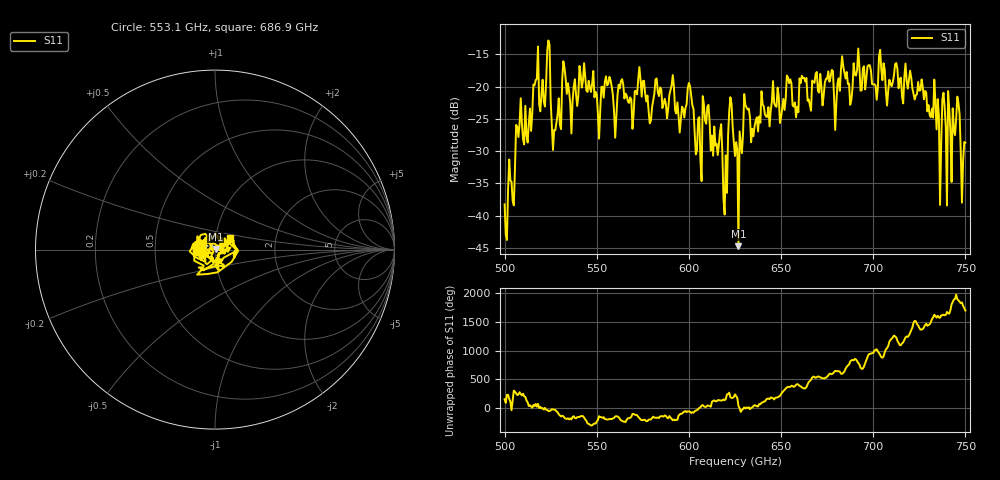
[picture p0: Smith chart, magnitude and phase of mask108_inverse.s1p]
!Created with skrf (http://scikit-rf.org).
# GHz S MA R 50.0
!freq magS11 angS11
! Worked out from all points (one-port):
!   401 points, 500 GHz to 750 GHz, reference 50 ohm
!   lowest |S11| = -44.7 dB at 626.9 GHz (marker M1), VSWR 1.01, Z = 50.5 + j0.352 ohm
!   |S11| at or under -10 dB: start of sweep to end of sweep
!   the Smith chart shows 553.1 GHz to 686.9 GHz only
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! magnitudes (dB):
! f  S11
! 500 GHz  -38.2
! 504.4 GHz  -37.7
! 507.5 GHz  -27.8
! 513.1 GHz  -25.7
! 516.9 GHz  -19.0
! 520.6 GHz  -19.0
! 523.8 GHz  -12.9
! 526.9 GHz  -26.7
! 531.2 GHz  -18.9
! 556.2 GHz  -19.6
! 560 GHz  -27.9
! 562.5 GHz  -20.3
! 579.4 GHz  -25.3
! 590.6 GHz  -19.8
! 593.8 GHz  -22.5
! 600.6 GHz  -19.9
! 605.6 GHz  -24.7
! 608.8 GHz  -25.2
! 619.4 GHz  -39.8
! 622.5 GHz  -21.7
! 625 GHz  -30.8
! 626.9 GHz  -44.7
! 631.2 GHz  -23.2
! 635 GHz  -27.7
! 656.2 GHz  -22.9
! 687.5 GHz  -22.8
! 718.8 GHz  -20.3
! 750 GHz  -28.7
